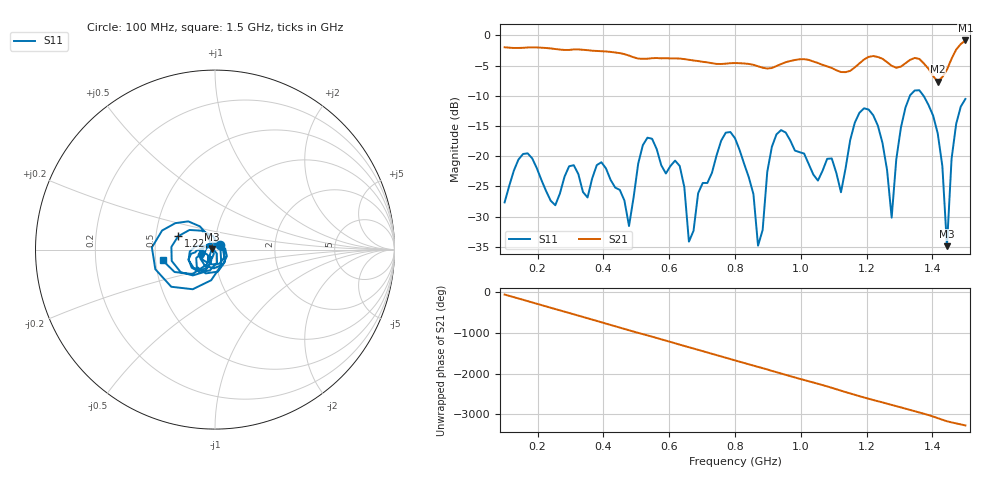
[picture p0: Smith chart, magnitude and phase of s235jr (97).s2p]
! NanoVNA-App
! Date: 2025-09-26 09:45:32
! Start: 100MHz Stop: 1,5GHz Points: 101
! S-Parameter data: F S11 S21 S12 S22
# Hz S RI R 50
!  Frequency  S11_Real  S11_Imag  S21_Real  S21_Imag  S12_Real  S12_Imag  S22_Real  S22_Imag
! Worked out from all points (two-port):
!   101 points, 100 MHz to 1.5 GHz, reference 50 ohm
!   highest |S21| = -0.83 dB at 1.5 GHz (marker M1); lowest = -7.6 dB at 1.416 GHz (marker M2)
!   |S21| within 3 dB of the highest: start of sweep to 505.6 MHz; 537.1 MHz to 632.4 MHz (95.26 MHz wide, 16.3 % of centre) (the widest 2 of 5)
!   lowest |S11| = -34.9 dB at 1.444 GHz (marker M3), VSWR 1.04, Z = 48.3 + j0.287 ohm
!   |S11| at or under -10 dB: start of sweep to 1.331 GHz; 1.373 GHz to end of sweep
!   S12 and S22 are empty: the file has one direction only
!   S11 on the Smith chart (normalised r, x): 100 MHz: 1.06, +0.06; 1.22 GHz: 0.65, +0.10; 1.5 GHz: 0.54, -0.07
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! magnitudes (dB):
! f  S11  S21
! 100 MHz  -27.6  -2.0
! 170 MHz  -19.5  -2.0
! 338 MHz  -25.9  -2.4
! 394 MHz  -21.0  -2.6
! 478 MHz  -31.6  -3.3
! 520 MHz  -18.2  -3.9
! 576 MHz  -21.5  -3.8
! 632 MHz  -21.6  -3.8
! 660 MHz  -34.1  -4.0
! 800 MHz  -17.0  -4.6
! 870 MHz  -34.8  -5.1
! 926 MHz  -16.4  -5.1
! 1.038 GHz  -23.0  -4.3
! 1.122 GHz  -26.0  -6.1
! 1.164 GHz  -14.4  -5.3
! 1.22 GHz  -13.2  -3.4
! 1.276 GHz  -30.2  -5.0
! 1.332 GHz  -9.9  -4.0
! 1.416 GHz  -16.2  -7.6
! 1.444 GHz  -34.9  -5.7
! 1.458 GHz  -20.4  -3.8
! 1.5 GHz  -10.5  -0.8
